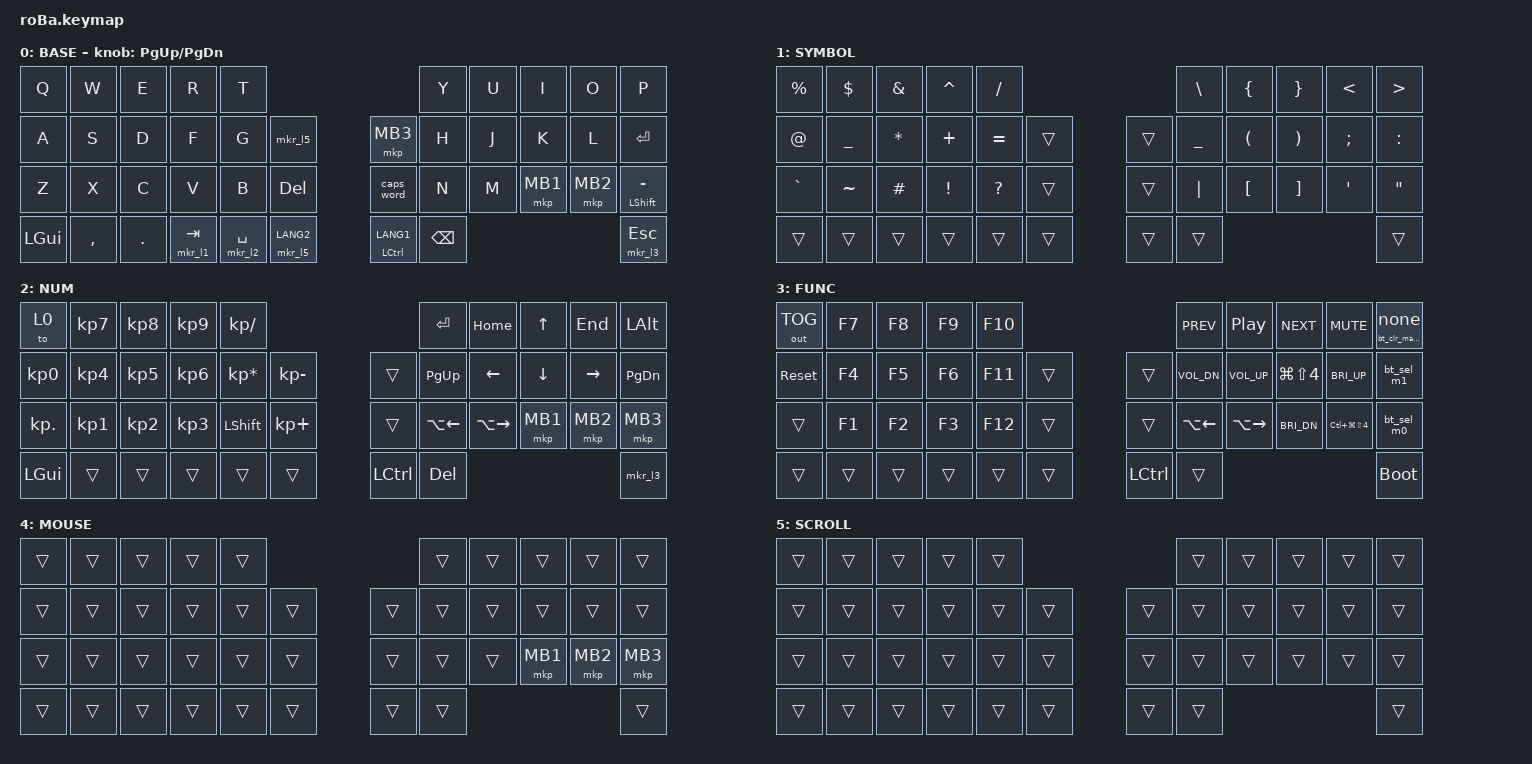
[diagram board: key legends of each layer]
#include <behaviors.dtsi>
#include <dt-bindings/zmk/bt.h>
#include <dt-bindings/zmk/outputs.h>
#include <dt-bindings/zmk/keys.h>
#include <dt-bindings/zmk/pointing.h>

// Ported from the Keyball39 (remap-keys.app) cheat sheet to the roBa layout.
// roBa keeps its trackball features: auto-mouse on layer 4, scroll on layer 5.

&mt {
    flavor = "balanced";
    quick-tap-ms = <0>;
};

&lt {
    flavor = "balanced";
    quick-tap-ms = <175>;
    tapping-term-ms = <200>;
};

&trackball {
    automouse-layer = <4>;
    scroll-layers = <5>;
};

/ {
    behaviors {
        // Prevent accidental BTclr: fires on a 0.5 s hold; a tap (accidental press) does nothing (&none)
        // BT_CLR expands to 2 tokens and &bt needs 2 cells. The hold side of a hold-tap
        // can only pass 1 parameter, so &bt BT_CLR is called via a macro (bt_clr_macro).
        bt_clr_hold: bt_clr_hold {
            compatible = "zmk,behavior-hold-tap";
            #binding-cells = <2>;
            flavor = "tap-preferred";
            tapping-term-ms = <500>;
            bindings = <&bt_clr_macro>, <&none>;
        };

        // Layer-tap with marker (&lt-compatible; the 1st parameter is a dummy 0).
        // Usage: &ltm2 0 SPACE = Space on tap / NUM + F22 marker on hold.
        // Flavor/timing are the same as the previous &lt settings.
        ltm1: ltm1 {
            compatible = "zmk,behavior-hold-tap";
            #binding-cells = <2>;
            flavor = "balanced";
            tapping-term-ms = <200>;
            quick-tap-ms = <175>;
            bindings = <&mkr_l1>, <&kp>;
        };
        ltm2: ltm2 {
            compatible = "zmk,behavior-hold-tap";
            #binding-cells = <2>;
            flavor = "balanced";
            tapping-term-ms = <200>;
            quick-tap-ms = <175>;
            bindings = <&mkr_l2>, <&kp>;
        };
        ltm3: ltm3 {
            compatible = "zmk,behavior-hold-tap";
            #binding-cells = <2>;
            flavor = "balanced";
            tapping-term-ms = <200>;
            quick-tap-ms = <175>;
            bindings = <&mkr_l3>, <&kp>;
        };
        ltm5: ltm5 {
            compatible = "zmk,behavior-hold-tap";
            #binding-cells = <2>;
            flavor = "balanced";
            tapping-term-ms = <200>;
            quick-tap-ms = <175>;
            bindings = <&mkr_l5>, <&kp>;
        };
    };

    macros {
        // Tap K_FIND (0x7E) before BT_CLR: notifies roba-hud on the connected host that
        // "this profile's bond was cleared" (waits 300 ms before clearing so the
        // report is fully sent before the link drops).
        bt_clr_macro: bt_clr_macro {
            compatible = "zmk,behavior-macro";
            #binding-cells = <0>;
            wait-ms = <300>;
            tap-ms = <10>;
            bindings = <&kp K_FIND>, <&bt BT_CLR>;
        };

        // BT profile marker: after switching, taps K_AGAIN+N (0x79+N) to notify
        // the target host that "active profile = N". K_AGAIN through
        // K_PASTE have no macOS virtual key codes and are invisible to the OS (same
        // proven pattern as F21-F24). Only roba-hud receives them via raw HID and uses
        // them for auto-detection in the device management sheet.
        // Reserved: 0x79-0x7D = BT0-4 switch notices / 0x7E (K_FIND) = BT_CLR notice.
        // The 1200 ms wait is for the connection to the target to be (re)established (if not connected, the report is dropped = harmless).
        // Note: reverting this key to a plain &bt via GUI editing removes the marker notice.
        bt_sel_m0: bt_sel_m0 {
            compatible = "zmk,behavior-macro";
            #binding-cells = <0>;
            tap-ms = <10>;
            bindings = <&bt BT_SEL 0>, <&macro_wait_time 1200>, <&kp K_AGAIN>;
        };
        bt_sel_m1: bt_sel_m1 {
            compatible = "zmk,behavior-macro";
            #binding-cells = <0>;
            tap-ms = <10>;
            bindings = <&bt BT_SEL 1>, <&macro_wait_time 1200>, <&kp K_UNDO>;
        };

        // Layer marker: activates the layer while holding F21-F24 for the duration of the hold.
        // F21+ have no macOS virtual key codes and are invisible to the OS. Only roba-hud
        // receives them via raw HID (IOHIDManager) and uses them to switch the displayed layer accurately.
        // Mapping: F21=SYMBOL(1) / F22=NUM(2) / F23=FUNC(3) / F24=SCROLL(5)
        mkr_l1: mkr_l1 {
            compatible = "zmk,behavior-macro";
            #binding-cells = <0>;
            wait-ms = <0>;
            tap-ms = <0>;
            bindings = <&macro_press &mo 1 &kp F21>,
                       <&macro_pause_for_release>,
                       <&macro_release &mo 1 &kp F21>;
        };
        mkr_l2: mkr_l2 {
            compatible = "zmk,behavior-macro";
            #binding-cells = <0>;
            wait-ms = <0>;
            tap-ms = <0>;
            bindings = <&macro_press &mo 2 &kp F22>,
                       <&macro_pause_for_release>,
                       <&macro_release &mo 2 &kp F22>;
        };
        mkr_l3: mkr_l3 {
            compatible = "zmk,behavior-macro";
            #binding-cells = <0>;
            wait-ms = <0>;
            tap-ms = <0>;
            bindings = <&macro_press &mo 3 &kp F23>,
                       <&macro_pause_for_release>,
                       <&macro_release &mo 3 &kp F23>;
        };
        mkr_l5: mkr_l5 {
            compatible = "zmk,behavior-macro";
            #binding-cells = <0>;
            wait-ms = <0>;
            tap-ms = <0>;
            bindings = <&macro_press &mo 5 &kp F24>,
                       <&macro_pause_for_release>,
                       <&macro_release &mo 5 &kp F24>;
        };
    };

    keymap {
        compatible = "zmk,keymap";

        default_layer {
            display-name = "BASE";
            bindings = <
&kp Q     &kp W     &kp E     &kp R          &kp T                                          &kp Y               &kp U          &kp I      &kp O     &kp P
&kp A     &kp S     &kp D     &kp F          &kp G       &mkr_l5                &mkp MB3     &kp H               &kp J          &kp K      &kp L     &kp ENTER
&kp Z     &kp X     &kp C     &kp V          &kp B       &kp DEL                &caps_word   &kp N               &kp M          &mkp MB1  &mkp MB2  &mt LSHFT MINUS
&kp LGUI  &kp COMMA &kp DOT   &ltm1 0 TAB    &ltm2 0 SPACE &ltm5 0 LANG2        &mt LCTRL LANG1  &kp BACKSPACE                                       &ltm3 0 ESC
            >;

            sensor-bindings = <&inc_dec_kp PG_UP PAGE_DOWN>;
        };

        symbol_layer {
            display-name = "SYMBOL";
            bindings = <
&kp PERCENT  &kp DOLLAR  &kp AMPERSAND  &kp CARET    &kp SLASH                       &kp BACKSLASH  &kp LEFT_BRACE        &kp RIGHT_BRACE       &kp LESS_THAN  &kp GREATER_THAN
&kp AT_SIGN  &kp UNDER   &kp ASTERISK   &kp PLUS     &kp EQUAL    &trans      &trans  &kp UNDER      &kp LEFT_PARENTHESIS  &kp RIGHT_PARENTHESIS &kp SEMICOLON  &kp COLON
&kp GRAVE    &kp TILDE   &kp HASH       &kp EXCL     &kp QMARK    &trans      &trans  &kp PIPE       &kp LEFT_BRACKET      &kp RIGHT_BRACKET     &kp SQT        &kp DQT
&trans       &trans      &trans         &trans       &trans       &trans      &trans  &trans                                                                    &trans
            >;
        };

        num_layer {
            display-name = "NUM";
            bindings = <
&to 0            &kp KP_NUMBER_7  &kp KP_NUMBER_8  &kp KP_NUMBER_9  &kp KP_DIVIDE                       &kp ENTER       &kp HOME        &kp UP_ARROW    &kp END          &kp LALT
&kp KP_NUMBER_0  &kp KP_NUMBER_4  &kp KP_NUMBER_5  &kp KP_NUMBER_6  &kp KP_MULTIPLY  &kp KP_MINUS  &trans     &kp PG_UP       &kp LEFT_ARROW  &kp DOWN_ARROW  &kp RIGHT_ARROW  &kp PG_DN
&kp KP_DOT       &kp KP_NUMBER_1  &kp KP_NUMBER_2  &kp KP_NUMBER_3  &kp LSHFT        &kp KP_PLUS   &trans     &kp LA(LEFT)    &kp LA(RIGHT)   &mkp MB1       &mkp MB2         &mkp MB3
&kp LGUI         &trans           &trans           &trans           &trans           &trans        &kp LCTRL  &kp DEL                                                          &mkr_l3
            >;
        };

        function_layer {
            display-name = "FUNC";
            bindings = <
&out OUT_TOG  &kp F7  &kp F8  &kp F9  &kp F10                                  &kp C_PREV     &kp C_PP       &kp C_NEXT    &kp C_MUTE     &bt_clr_hold 0 0
&sys_reset    &kp F4  &kp F5  &kp F6  &kp F11  &trans         &trans     &kp C_VOL_DN   &kp C_VOL_UP   &kp LG(LS(N4))  &kp C_BRI_UP   &bt_sel_m1
&trans        &kp F1  &kp F2  &kp F3  &kp F12  &trans         &trans     &kp LA(LEFT)   &kp LA(RIGHT)  &kp C_BRI_DN  &kp LC(LG(LS(N4)))   &bt_sel_m0
&trans        &trans  &trans  &trans  &trans   &trans         &kp LCTRL  &trans                                                     &bootloader
            >;
        };

        mouse_layer {
            display-name = "MOUSE";
            bindings = <
&trans  &trans  &trans  &trans  &trans                      &trans  &trans  &trans     &trans     &trans
&trans  &trans  &trans  &trans  &trans  &trans      &trans  &trans  &trans  &trans     &trans     &trans
&trans  &trans  &trans  &trans  &trans  &trans      &trans  &trans  &trans  &mkp MB1  &mkp MB2   &mkp MB3
&trans  &trans  &trans  &trans  &trans  &trans      &trans  &trans                                &trans
            >;
        };

        scroll_layer {
            display-name = "SCROLL";
            bindings = <
&trans  &trans  &trans  &trans  &trans                      &trans  &trans  &trans  &trans  &trans
&trans  &trans  &trans  &trans  &trans  &trans      &trans  &trans  &trans  &trans  &trans  &trans
&trans  &trans  &trans  &trans  &trans  &trans      &trans  &trans  &trans  &trans  &trans  &trans
&trans  &trans  &trans  &trans  &trans  &trans      &trans  &trans                          &trans
            >;
        };
    };
};
